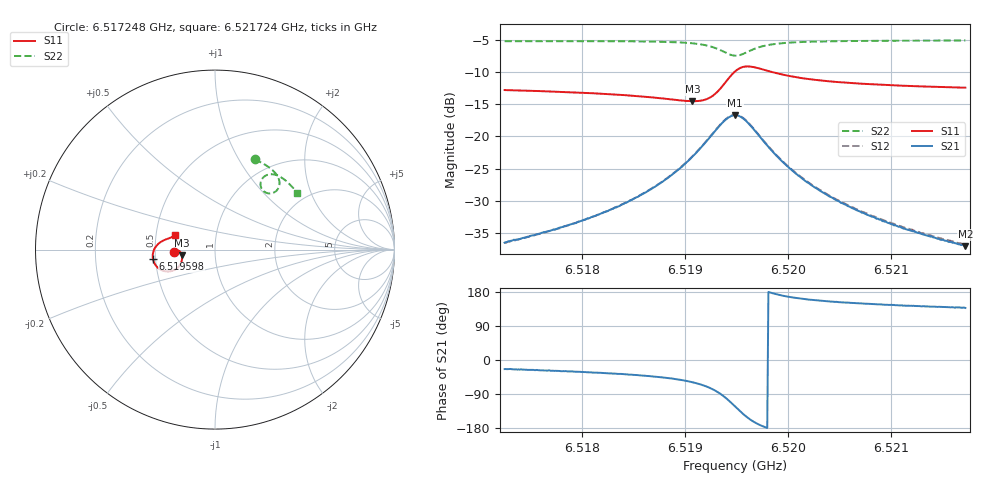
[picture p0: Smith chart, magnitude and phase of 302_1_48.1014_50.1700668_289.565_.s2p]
#  HZ  S  RI  R  50.00
! Rohde & Schwarz Vector Network Analyzer
! Rohde-Schwarz,ZNB20-2Port,1311601062101988,3.16
! Created: UTC 12/23/2023, 4:04:50 AM
! freq[Hz]  re:S11  im:S11  re:S21  im:S21  re:S12  im:S12  re:S22  im:S22
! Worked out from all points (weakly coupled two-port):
!   401 points, 6.517248 GHz to 6.521724 GHz, reference 50 ohm
!   highest |S21| = -16.72 dB at 6.519486 GHz (marker M1); lowest = -37.0 dB at 6.521724 GHz (marker M2)
!   lowest |S11| = -14.5 dB at 6.519072 GHz (marker M3), VSWR 1.46, Z = 34.3 - j2.33 ohm
!   |S11| at or under -10 dB: start of sweep to 6.51948 GHz; 6.519846 GHz to end of sweep
!   |S22| runs from -7.5 to -5.1 dB; largest |S21 - S12| = 0.0045
!   S11 on the Smith chart (normalised r, x): 6.517248 GHz: 0.63, -0.02; 6.519598 GHz: 0.48, -0.06; 6.521724 GHz: 0.63, +0.11
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6.5172475e9  -0.2288 -0.0117  0.0137 -0.00608  0.0138 -0.00557  0.2207 0.5023
6.5177623e9  -0.2223 -0.00479  0.0168 -0.00927  0.0171 -0.00877  0.2584 0.4845
6.5179973e9  -0.2184 -0.00271  0.0189 -0.0116  0.0193 -0.011  0.2759 0.4746
6.5183554e9  -0.2108 -0.00134  0.0229 -0.0172  0.0238 -0.0165  0.3027 0.4568
6.518747e9  -0.1984 -0.00731  0.0302 -0.0302  0.0313 -0.0293  0.3332 0.43
6.5189373e9  -0.1902 -0.0177  0.0343 -0.0434  0.036 -0.0426  0.3479 0.4101
6.5190716e9  -0.1848 -0.0327  0.0362 -0.0595  0.0383 -0.0587  0.3567 0.3902
6.5191835e9  -0.1839 -0.0543  0.0334 -0.0802  0.036 -0.0797  0.3595 0.3669
6.5192618e9  -0.1901 -0.0763  0.0243 -0.1  0.0276 -0.1  0.3549 0.3464
6.5193178e9  -0.2022 -0.0949  0.0105 -0.1159  0.0143 -0.1164  0.3448 0.3306
6.5193961e9  -0.2372 -0.118  -0.0238 -0.1331  -0.0201 -0.1348  0.3176 0.3141
6.5194856e9  -0.2983 -0.1141  -0.0783 -0.1231  -0.0753 -0.1264  0.2748 0.3224
6.5195416e9  -0.3299 -0.0882  -0.1036 -0.0969  -0.1016 -0.1008  0.2572 0.3449
6.5195975e9  -0.3453 -0.0543  -0.1133 -0.0658  -0.1122 -0.0697  0.2539 0.3709
6.5196982e9  -0.3408 -0.0033  -0.1037 -0.0226  -0.104 -0.0259  0.271 0.4038
6.5198213e9  -0.3187 0.0297  -0.0809 0.00209  -0.0819 -0.000394  0.2997 0.4186
6.5200116e9  -0.2906 0.0494  -0.0555 0.0132  -0.0563 0.0118  0.3338 0.4177
6.5202354e9  -0.2706 0.0579  -0.0386 0.0151  -0.0395 0.0141  0.361 0.4069
6.5205823e9  -0.2526 0.0645  -0.0252 0.0138  -0.026 0.0133  0.3906 0.3869
6.5209851e9  -0.2401 0.0702  -0.0174 0.0121  -0.0181 0.0117  0.4175 0.3627
6.5212761e9  -0.2336 0.074  -0.014 0.0108  -0.0145 0.0108  0.434 0.345
6.5217237e9  -0.2252 0.0801  -0.0104 0.00951  -0.0109 0.0095  0.4567 0.3172
